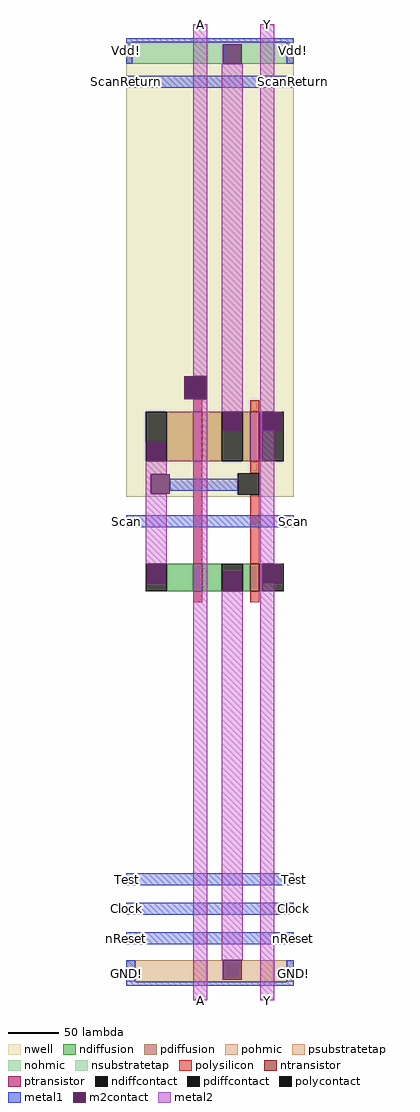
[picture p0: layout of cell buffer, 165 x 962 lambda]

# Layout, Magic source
magic
tech tsmc180
<< nwell >>
rect 0 496 165 948
<< polysilicon >>
rect 66 580 75 592
rect 122 580 131 591
rect 66 430 75 531
rect 122 519 131 531
rect 122 430 131 498
rect 66 392 75 403
rect 122 392 131 403
<< ndiffusion >>
rect 40 403 66 430
rect 75 403 94 430
rect 115 403 122 430
rect 131 403 134 430
<< pdiffusion >>
rect 40 531 66 580
rect 75 531 94 580
rect 115 531 122 580
rect 131 531 134 580
<< pohmic >>
rect 0 18 9 39
rect 158 18 165 39
<< nohmic >>
rect 0 923 6 944
rect 158 923 165 944
<< ntransistor >>
rect 66 403 75 430
rect 122 403 131 430
<< ptransistor >>
rect 66 531 75 580
rect 122 531 131 580
<< polycontact >>
rect 57 592 80 615
rect 110 498 131 519
<< ndiffcontact >>
rect 19 403 40 430
rect 94 403 115 430
rect 134 403 155 430
<< pdiffcontact >>
rect 19 531 40 580
rect 94 531 115 580
rect 134 531 155 580
<< psubstratetap >>
rect 9 18 158 39
<< nsubstratetap >>
rect 6 923 158 944
<< metal1 >>
rect 0 944 165 948
rect 0 923 6 944
rect 158 923 165 944
rect 0 899 165 911
rect 43 502 110 514
rect 0 466 165 478
rect 0 113 165 125
rect 0 84 165 96
rect 0 55 165 67
rect 0 18 9 39
rect 158 18 165 39
rect 0 14 165 18
<< m2contact >>
rect 95 923 114 942
rect 57 592 80 615
rect 20 531 39 550
rect 95 561 114 580
rect 134 561 153 580
rect 24 499 43 518
rect 20 411 39 430
rect 95 403 114 422
rect 134 411 153 430
rect 95 20 114 39
<< metal2 >>
rect 66 615 80 962
rect 19 518 40 531
rect 19 499 24 518
rect 19 430 40 499
rect 66 0 80 592
rect 94 580 115 923
rect 132 580 146 962
rect 132 561 134 580
rect 132 430 146 561
rect 132 411 134 430
rect 94 39 115 403
rect 132 0 146 411
<< labels >>
rlabel metal1 0 14 0 39 3 GND!
rlabel metal1 0 923 0 948 3 Vdd!
rlabel metal1 0 899 0 911 3 ScanReturn
rlabel metal1 0 113 0 125 3 Test
rlabel metal1 0 84 0 96 3 Clock
rlabel metal1 0 55 0 67 3 nReset
rlabel metal1 0 466 0 478 3 Scan
rlabel metal1 165 14 165 39 7 GND!
rlabel metal1 165 923 165 948 7 Vdd!
rlabel metal1 165 899 165 911 7 ScanReturn
rlabel metal1 165 113 165 125 7 Test
rlabel metal1 165 84 165 96 7 Clock
rlabel metal1 165 55 165 67 7 nReset
rlabel metal1 165 466 165 478 7 Scan
rlabel metal2 66 962 80 962 5 A
rlabel metal2 132 962 146 962 5 Y
rlabel metal2 66 0 80 0 1 A
rlabel metal2 132 0 146 0 1 Y
<< end >>
